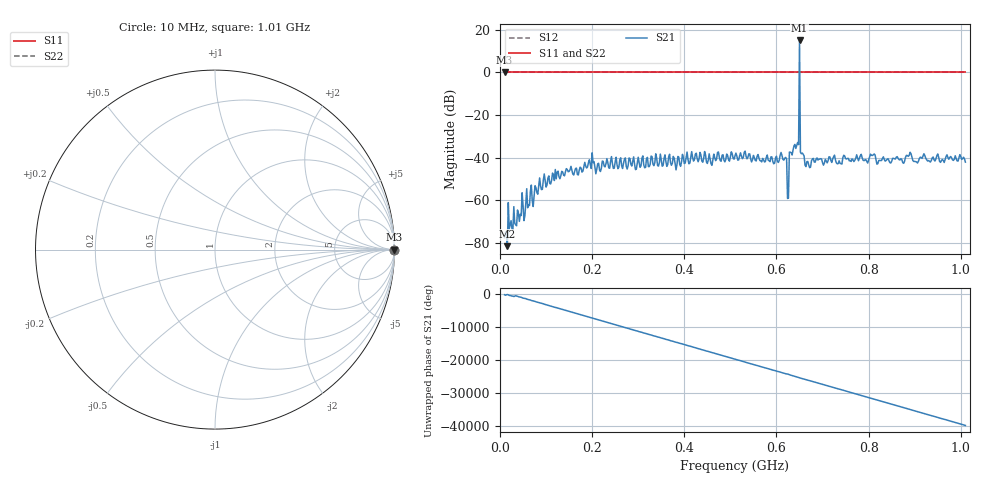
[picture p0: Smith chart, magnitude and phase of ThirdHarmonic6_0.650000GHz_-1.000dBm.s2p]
! 8/15/2025 9:34:15 PM
! C:\ANRITSUVNA\TEMP\TEMP.S2P
! CHANNEL.1
! TR.MEASUREMENT
! RAW.DATA
! RF.CORRECTION.OFF
! AVERAGING.OFF
! IF.BANDWIDTH: 5KHZ
! SWEEPTYPE:  FREQ.SWEEP(Linear)
! Reference Plane Port Info
! PORT:  PORT1  PORT2
! DISTANCE:  0  m  0  m
! TIME:  0  s  0  s
! PHASE.OFFSET:  0  deg.  0  deg.
! LOSS:  0  dB  0  dB
! REF.LOSS:  0  dB  0  dB
! REF.FREQ:  0  Hz  0  Hz
! Power Info
! POWER:  -20  dBm  -20  dBm
! EFF.POWER:  -20  dBm  -20  dBm
! SOURCE.ATTEN:  0  dB  0  dB
! TEST.ATTEN:  0  dB  0  dB
# GHZ S RI R 50.0
! FREQ.GHZ  S11RE  S11IM  S21RE  S21IM  S12RE  S12IM  S22RE  S22IM
!; PortSelection: Port_12
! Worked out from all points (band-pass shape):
!   501 points, 10 MHz to 1.01 GHz, reference 50 ohm
!   highest |S21| = 14.96 dB at 650 MHz (marker M1); lowest = -81.5 dB at 16 MHz (marker M2)
!   |S21| within 3 dB of the highest: 649.8772 MHz to 650.1144 MHz (237.3 kHz wide, 0.0365 % of centre)
!   lowest |S11| = 0.0 dB at 10 MHz (marker M3)
!   |S11| at or under -10 dB: nowhere
!   |S22| runs from 0.0 to 0.0 dB; largest |S21 - S12| = 6.3
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0.01  1 0  -6.75e-05 -0.000115  1 0  1 0
0.016  1 0  5.07e-05 -6.74e-05  1 0  1 0
0.094  1 0  0.00278 0.00102  1 0  1 0
0.178  1 0  -0.00458 0.000368  1 0  1 0
0.196  1 0  -0.00599 0.00332  1 0  1 0
0.212  1 0  -0.00294 -0.00652  1 0  1 0
0.344  1 0  0.00549 -0.00324  1 0  1 0
0.51  1 0  -0.00758 0.00803  1 0  1 0
0.612  1 0  0.0104 -0.00432  1 0  1 0
0.618  1 0  -0.00325 0.00914  1 0  1 0
0.622  1 0  0.00645 -0.00673  1 0  1 0
0.628  1 0  0.000317 0.0135  1 0  1 0
0.632  1 0  5.47e-05 -0.0131  1 0  1 0
0.644  1 0  -0.0138 0.0135  1 0  1 0
0.646  1 0  0.0144 0.0175  1 0  1 0
0.65  1 0  -3.757 -4.151  1 0  1 0
0.654  1 0  0.00715 0.0101  1 0  1 0
0.656  1 0  0.0119 -0.00495  1 0  1 0
0.666  1 0  0.00569 -0.00573  1 0  1 0
0.678  1 0  -0.00858 -0.00371  1 0  1 0
0.844  1 0  0.00863 -1.02e-05  1 0  1 0
1.01  1 0  -0.00743 0.00263  1 0  1 0
